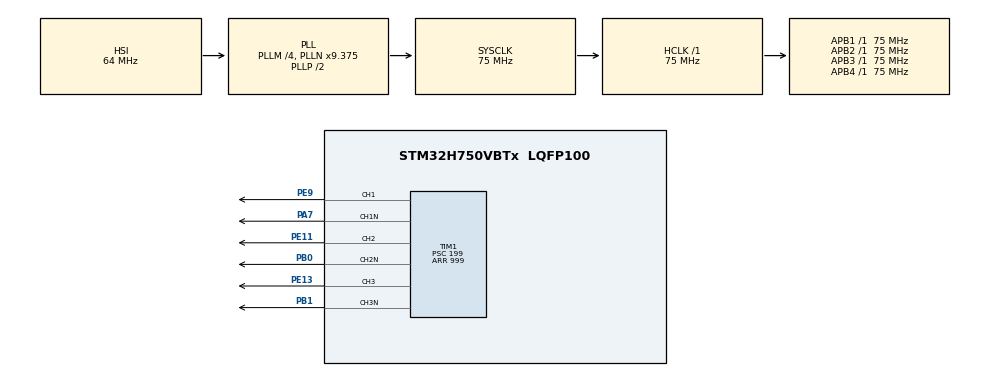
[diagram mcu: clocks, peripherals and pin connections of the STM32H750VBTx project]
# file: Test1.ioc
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CORTEX_M7.default_mode_Activation=1
Mcu.Family=STM32H7
Mcu.Name=STM32H750VBTx
Mcu.Package=LQFP100
NVIC.PriorityGroup=NVIC_PRIORITYGROUP_4
PA7.Mode=PWM Generation1 CH1 CH1N
PA7.Signal=TIM1_CH1N
PB0.Mode=PWM Generation2 CH2 CH2N
PB0.Signal=TIM1_CH2N
PB1.Mode=PWM Generation3 CH3 CH3N
PB1.Signal=TIM1_CH3N
PE11.Signal=S_TIM1_CH2
PE13.Signal=S_TIM1_CH3
PE9.Signal=S_TIM1_CH1
ProjectManager.HeapSize=0x200
ProjectManager.StackSize=0x400
ProjectManager.TargetToolchain=STM32CubeIDE
RCC.ADCFreq_Value=129000000
RCC.APB1Freq_Value=75000000
RCC.APB2Freq_Value=75000000
RCC.APB3Freq_Value=75000000
RCC.APB4Freq_Value=75000000
RCC.CortexFreq_Value=75000000
RCC.DIVM1=4
RCC.DIVN1=9
RCC.HCLKFreq_Value=75000000
RCC.PLLFRACN=3072
RCC.SYSCLKFreq_VALUE=75000000
RCC.SYSCLKSource=RCC_SYSCLKSOURCE_PLLCLK
RCC.USBFreq_Value=75000000
SH.S_TIM1_CH1.0=TIM1_CH1,PWM Generation1 CH1 CH1N
SH.S_TIM1_CH2.0=TIM1_CH2,PWM Generation2 CH2 CH2N
SH.S_TIM1_CH3.0=TIM1_CH3,PWM Generation3 CH3 CH3N
TIM1.Channel-PWM\ Generation1\ CH1\ CH1N=TIM_CHANNEL_1
TIM1.Channel-PWM\ Generation2\ CH2\ CH2N=TIM_CHANNEL_2
TIM1.Channel-PWM\ Generation3\ CH3\ CH3N=TIM_CHANNEL_3
TIM1.Period=999
TIM1.Prescaler=199
VP_MEMORYMAP_VS_MEMORYMAP.Mode=CurAppReg
board=custom

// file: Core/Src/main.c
/* USER CODE BEGIN Header */
/**
  ******************************************************************************
  * @file           : main.c
  * @brief          : Main program body
  ******************************************************************************
  * @attention
  *
  * Copyright (c) 2026 STMicroelectronics.
  * All rights reserved.
  *
  * This software is licensed under terms that can be found in the LICENSE file
  * in the root directory of this software component.
  * If no LICENSE file comes with this software, it is provided AS-IS.
  *
  ******************************************************************************
  */
/* USER CODE END Header */
#include "main.h"

TIM_HandleTypeDef htim1;

/* USER CODE BEGIN PV */
#include <math.h> // Thư viện cần thiết cho hàm sin()

float wave_sine = 0.0f;
float wave_triangle = 0.0f;
float wave_square = 0.0f;
float pwm_duty = 0.0f;

// 1 = Chạy, 0 = Dừng
uint8_t start_stop = 0;

// Biến phụ trợ dùng để tính toán
float time_t = 0.0f;
int tri_dir = 1;
/* USER CODE END PV */

void SystemClock_Config(void);
static void MPU_Config(void);
static void MX_GPIO_Init(void);
static void MX_TIM1_Init(void);

int main(void)
{

  /* MPU Configuration--------------------------------------------------------*/
  MPU_Config();

  /* MCU Configuration--------------------------------------------------------*/

  /* Reset of all peripherals, Initializes the Flash interface and the Systick. */
  HAL_Init();

  /* Configure the system clock */
  SystemClock_Config();

  /* Initialize all configured peripherals */
  MX_GPIO_Init();
  MX_TIM1_Init();
  /* USER CODE BEGIN 2 */
  //HAL_TIM_PWM_Start(&htim1, TIM_CHANNEL_1);
  /* USER CODE END 2 */

  /* Infinite loop */
  /* USER CODE BEGIN WHILE */
  while (1)
  {
	if (start_stop == 1)
	{
		wave_sine = 10.0f * sin(time_t);
		wave_square = (sin(time_t) > 0) ? 5.0f : 0.0f;
		if (tri_dir == 1) {
			wave_triangle += 1.0f;
			if (wave_triangle >= 100.0f) tri_dir = -1;
		} else {
			wave_triangle -= 1.0f;
			if (wave_triangle <= 0.0f) tri_dir = 1;
		}

		time_t += 0.05f;
		if (time_t > 6.28318f) time_t = 0.0f;

		pwm_duty = wave_triangle;

		//__HAL_TIM_SET_COMPARE(&htim1, TIM_CHANNEL_1, (uint32_t)(pwm_duty * 1000.0f / 100.0f));
	}

	HAL_Delay(5);
    /* USER CODE END WHILE */

  }
}

void SystemClock_Config(void)
{
  RCC_OscInitTypeDef RCC_OscInitStruct = {0};
  RCC_ClkInitTypeDef RCC_ClkInitStruct = {0};

  /** Supply configuration update enable
  */
  HAL_PWREx_ConfigSupply(PWR_LDO_SUPPLY);

  /** Configure the main internal regulator output voltage
  */
  __HAL_PWR_VOLTAGESCALING_CONFIG(PWR_REGULATOR_VOLTAGE_SCALE3);

  while(!__HAL_PWR_GET_FLAG(PWR_FLAG_VOSRDY)) {}

  /** Initializes the RCC Oscillators according to the specified parameters
  * in the RCC_OscInitTypeDef structure.
  */
  RCC_OscInitStruct.OscillatorType = RCC_OSCILLATORTYPE_HSI;
  RCC_OscInitStruct.HSIState = RCC_HSI_DIV1;
  RCC_OscInitStruct.HSICalibrationValue = RCC_HSICALIBRATION_DEFAULT;
  RCC_OscInitStruct.PLL.PLLState = RCC_PLL_ON;
  RCC_OscInitStruct.PLL.PLLSource = RCC_PLLSOURCE_HSI;
  RCC_OscInitStruct.PLL.PLLM = 4;
  RCC_OscInitStruct.PLL.PLLN = 9;
  RCC_OscInitStruct.PLL.PLLP = 2;
  RCC_OscInitStruct.PLL.PLLQ = 2;
  RCC_OscInitStruct.PLL.PLLR = 2;
  RCC_OscInitStruct.PLL.PLLRGE = RCC_PLL1VCIRANGE_3;
  RCC_OscInitStruct.PLL.PLLVCOSEL = RCC_PLL1VCOMEDIUM;
  RCC_OscInitStruct.PLL.PLLFRACN = 3072;
  if (HAL_RCC_OscConfig(&RCC_OscInitStruct) != HAL_OK)
  {
    Error_Handler();
  }

  /** Initializes the CPU, AHB and APB buses clocks
  */
  RCC_ClkInitStruct.ClockType = RCC_CLOCKTYPE_HCLK|RCC_CLOCKTYPE_SYSCLK
                              |RCC_CLOCKTYPE_PCLK1|RCC_CLOCKTYPE_PCLK2
                              |RCC_CLOCKTYPE_D3PCLK1|RCC_CLOCKTYPE_D1PCLK1;
  RCC_ClkInitStruct.SYSCLKSource = RCC_SYSCLKSOURCE_PLLCLK;
  RCC_ClkInitStruct.SYSCLKDivider = RCC_SYSCLK_DIV1;
  RCC_ClkInitStruct.AHBCLKDivider = RCC_HCLK_DIV1;
  RCC_ClkInitStruct.APB3CLKDivider = RCC_APB3_DIV1;
  RCC_ClkInitStruct.APB1CLKDivider = RCC_APB1_DIV1;
  RCC_ClkInitStruct.APB2CLKDivider = RCC_APB2_DIV1;
  RCC_ClkInitStruct.APB4CLKDivider = RCC_APB4_DIV1;

  if (HAL_RCC_ClockConfig(&RCC_ClkInitStruct, FLASH_LATENCY_1) != HAL_OK)
  {
    Error_Handler();
  }
}

static void MX_TIM1_Init(void)
{

  TIM_MasterConfigTypeDef sMasterConfig = {0};
  TIM_OC_InitTypeDef sConfigOC = {0};
  TIM_BreakDeadTimeConfigTypeDef sBreakDeadTimeConfig = {0};

  htim1.Instance = TIM1;
  htim1.Init.Prescaler = 199;
  htim1.Init.CounterMode = TIM_COUNTERMODE_UP;
  htim1.Init.Period = 999;
  htim1.Init.ClockDivision = TIM_CLOCKDIVISION_DIV1;
  htim1.Init.RepetitionCounter = 0;
  htim1.Init.AutoReloadPreload = TIM_AUTORELOAD_PRELOAD_DISABLE;
  if (HAL_TIM_PWM_Init(&htim1) != HAL_OK)
  {
    Error_Handler();
  }
  sMasterConfig.MasterOutputTrigger = TIM_TRGO_RESET;
  sMasterConfig.MasterOutputTrigger2 = TIM_TRGO2_RESET;
  sMasterConfig.MasterSlaveMode = TIM_MASTERSLAVEMODE_DISABLE;
  if (HAL_TIMEx_MasterConfigSynchronization(&htim1, &sMasterConfig) != HAL_OK)
  {
    Error_Handler();
  }
  sConfigOC.OCMode = TIM_OCMODE_PWM1;
  sConfigOC.Pulse = 0;
  sConfigOC.OCPolarity = TIM_OCPOLARITY_HIGH;
  sConfigOC.OCNPolarity = TIM_OCNPOLARITY_HIGH;
  sConfigOC.OCFastMode = TIM_OCFAST_DISABLE;
  sConfigOC.OCIdleState = TIM_OCIDLESTATE_RESET;
  sConfigOC.OCNIdleState = TIM_OCNIDLESTATE_RESET;
  if (HAL_TIM_PWM_ConfigChannel(&htim1, &sConfigOC, TIM_CHANNEL_1) != HAL_OK)
  {
    Error_Handler();
  }
  if (HAL_TIM_PWM_ConfigChannel(&htim1, &sConfigOC, TIM_CHANNEL_2) != HAL_OK)
  {
    Error_Handler();
  }
  if (HAL_TIM_PWM_ConfigChannel(&htim1, &sConfigOC, TIM_CHANNEL_3) != HAL_OK)
  {
    Error_Handler();
  }
  sBreakDeadTimeConfig.OffStateRunMode = TIM_OSSR_DISABLE;
  sBreakDeadTimeConfig.OffStateIDLEMode = TIM_OSSI_DISABLE;
  sBreakDeadTimeConfig.LockLevel = TIM_LOCKLEVEL_OFF;
  sBreakDeadTimeConfig.DeadTime = 0;
  sBreakDeadTimeConfig.BreakState = TIM_BREAK_DISABLE;
  sBreakDeadTimeConfig.BreakPolarity = TIM_BREAKPOLARITY_HIGH;
  sBreakDeadTimeConfig.BreakFilter = 0;
  sBreakDeadTimeConfig.Break2State = TIM_BREAK2_DISABLE;
  sBreakDeadTimeConfig.Break2Polarity = TIM_BREAK2POLARITY_HIGH;
  sBreakDeadTimeConfig.Break2Filter = 0;
  sBreakDeadTimeConfig.AutomaticOutput = TIM_AUTOMATICOUTPUT_DISABLE;
  if (HAL_TIMEx_ConfigBreakDeadTime(&htim1, &sBreakDeadTimeConfig) != HAL_OK)
  {
    Error_Handler();
  }
  HAL_TIM_MspPostInit(&htim1);

}

static void MX_GPIO_Init(void)
{

  /* GPIO Ports Clock Enable */
  __HAL_RCC_GPIOA_CLK_ENABLE();
  __HAL_RCC_GPIOB_CLK_ENABLE();
  __HAL_RCC_GPIOE_CLK_ENABLE();

}

 /* MPU Configuration */

void MPU_Config(void)
{
  MPU_Region_InitTypeDef MPU_InitStruct = {0};

  /* Disables the MPU */
  HAL_MPU_Disable();

  /** Initializes and configures the Region and the memory to be protected
  */
  MPU_InitStruct.Enable = MPU_REGION_ENABLE;
  MPU_InitStruct.Number = MPU_REGION_NUMBER0;
  MPU_InitStruct.BaseAddress = 0x0;
  MPU_InitStruct.Size = MPU_REGION_SIZE_4GB;
  MPU_InitStruct.SubRegionDisable = 0x87;
  MPU_InitStruct.TypeExtField = MPU_TEX_LEVEL0;
  MPU_InitStruct.AccessPermission = MPU_REGION_NO_ACCESS;
  MPU_InitStruct.DisableExec = MPU_INSTRUCTION_ACCESS_DISABLE;
  MPU_InitStruct.IsShareable = MPU_ACCESS_SHAREABLE;
  MPU_InitStruct.IsCacheable = MPU_ACCESS_NOT_CACHEABLE;
  MPU_InitStruct.IsBufferable = MPU_ACCESS_NOT_BUFFERABLE;

  HAL_MPU_ConfigRegion(&MPU_InitStruct);
  /* Enables the MPU */
  HAL_MPU_Enable(MPU_PRIVILEGED_DEFAULT);

}

void Error_Handler(void)
{
  __disable_irq();
  while (1)
  {
  }
}
